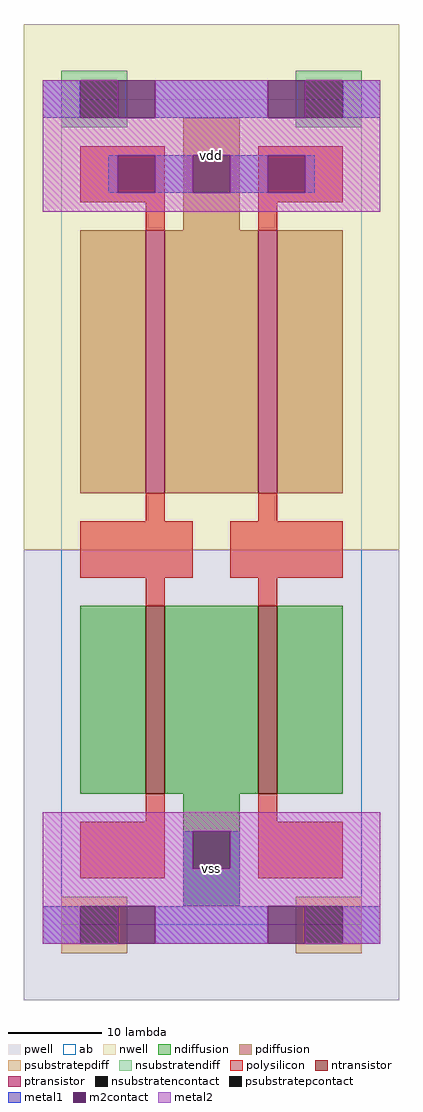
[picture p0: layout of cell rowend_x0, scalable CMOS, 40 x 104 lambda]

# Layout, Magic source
magic
tech scmos
<< ab >>
rect 0 0 32 88
<< pwell >>
rect -4 -8 36 40
<< nwell >>
rect -4 40 36 96
<< polysilicon >>
rect 2 77 11 83
rect 9 74 11 77
rect 21 77 30 83
rect 21 74 23 77
rect 9 43 11 46
rect 21 43 23 46
rect 2 37 14 43
rect 18 37 30 43
rect 9 34 11 37
rect 21 34 23 37
rect 9 11 11 14
rect 2 5 11 11
rect 21 11 23 14
rect 21 5 30 11
<< ndiffusion >>
rect 2 14 9 34
rect 11 14 21 34
rect 23 14 30 34
rect 13 2 19 14
<< pdiffusion >>
rect 13 74 19 86
rect 2 46 9 74
rect 11 46 21 74
rect 23 46 30 74
<< metal1 >>
rect -2 86 2 90
rect 10 86 22 90
rect 30 86 34 90
rect 5 78 6 82
rect 10 78 14 82
rect 18 78 22 82
rect 26 78 27 82
rect 13 6 14 10
rect 18 6 19 10
rect 13 2 19 6
rect -2 -2 2 2
rect 10 -2 22 2
rect 30 -2 34 2
<< metal2 >>
rect -2 86 6 90
rect 10 86 22 90
rect 26 86 34 90
rect -2 82 34 86
rect -2 78 6 82
rect 10 78 14 82
rect 18 78 22 82
rect 26 78 34 82
rect -2 76 34 78
rect -2 10 34 12
rect -2 6 14 10
rect 18 6 34 10
rect -2 2 34 6
rect -2 -2 6 2
rect 10 -2 22 2
rect 26 -2 34 2
<< ntransistor >>
rect 9 14 11 34
rect 21 14 23 34
<< ptransistor >>
rect 9 46 11 74
rect 21 46 23 74
<< m2contact >>
rect 6 86 10 90
rect 22 86 26 90
rect 6 78 10 82
rect 14 78 18 82
rect 22 78 26 82
rect 14 6 18 10
rect 6 -2 10 2
rect 22 -2 26 2
<< psubstratepcontact >>
rect 2 -2 6 2
rect 26 -2 30 2
<< nsubstratencontact >>
rect 2 86 6 90
rect 26 86 30 90
<< psubstratepdiff >>
rect 0 2 7 3
rect 25 2 32 3
rect 0 -2 2 2
rect 6 -2 7 2
rect 0 -3 7 -2
rect 25 -2 26 2
rect 30 -2 32 2
rect 25 -3 32 -2
<< nsubstratendiff >>
rect 0 90 7 91
rect 0 86 2 90
rect 6 86 7 90
rect 25 90 32 91
rect 25 86 26 90
rect 30 86 32 90
rect 0 85 7 86
rect 25 85 32 86
<< labels >>
rlabel metal2 16 6 16 6 6 vss
rlabel metal2 16 82 16 82 6 vdd
<< end >>
